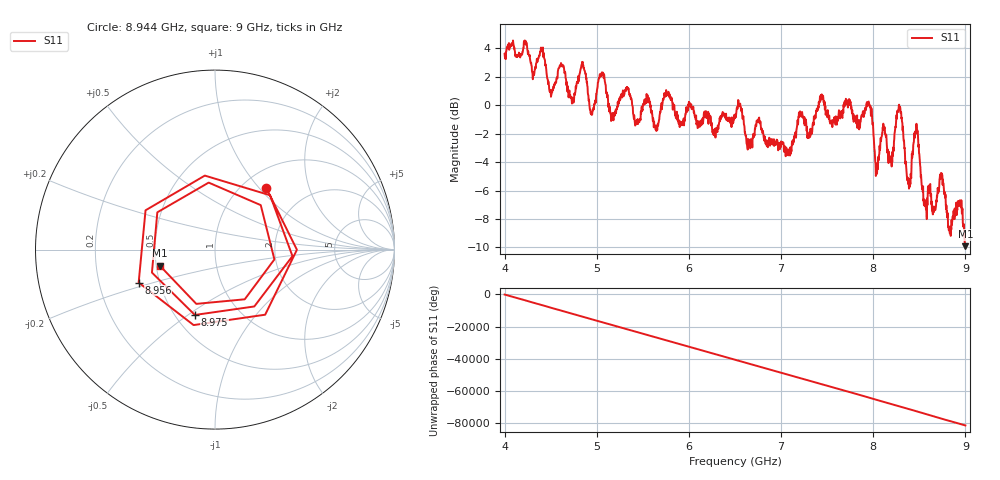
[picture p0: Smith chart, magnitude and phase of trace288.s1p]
! Created with skrf 1.8.0 (http://scikit-rf.org).
# Hz S RI R 50.0
!freq ReS11 ImS11
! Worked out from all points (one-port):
!   1601 points, 4 GHz to 9 GHz, reference 50 ohm
!   lowest |S11| = -9.9 dB at 9 GHz (marker M1), VSWR 1.94, Z = 26.2 - j5.27 ohm
!   |S11| at or under -10 dB: nowhere
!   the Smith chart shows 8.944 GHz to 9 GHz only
!   S11 on the Smith chart (normalised r, x): 8.944 GHz: 1.27, +1.10; 8.956 GHz: 0.38, -0.18; 8.975 GHz: 0.62, -0.53; 9 GHz: 0.52, -0.11
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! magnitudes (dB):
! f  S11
! 4 GHz  3.6
! 4.406 GHz  3.9
! 4.509 GHz  0.8
! 4.625 GHz  2.8
! 4.731 GHz  0.1
! 4.856 GHz  2.6
! 4.944 GHz  -0.5
! 5.056 GHz  2.3
! 5.159 GHz  -0.9
! 5.25 GHz  0.5
! 5.875 GHz  -1.0
! 6.5 GHz  -0.9
! 7.125 GHz  -2.8
! 7.434 GHz  0.6
! 7.75 GHz  0.2
! 7.959 GHz  0.1
! 8.041 GHz  -4.8
! 8.112 GHz  -1.4
! 8.197 GHz  -3.9
! 8.284 GHz  -0.2
! 8.375 GHz  -5.1
! 8.462 GHz  -1.9
! 8.562 GHz  -7.1
! 8.741 GHz  -4.9
! 8.944 GHz  -7.0
! 8.956 GHz  -6.7
! 8.975 GHz  -8.4
! 9 GHz  -9.9
